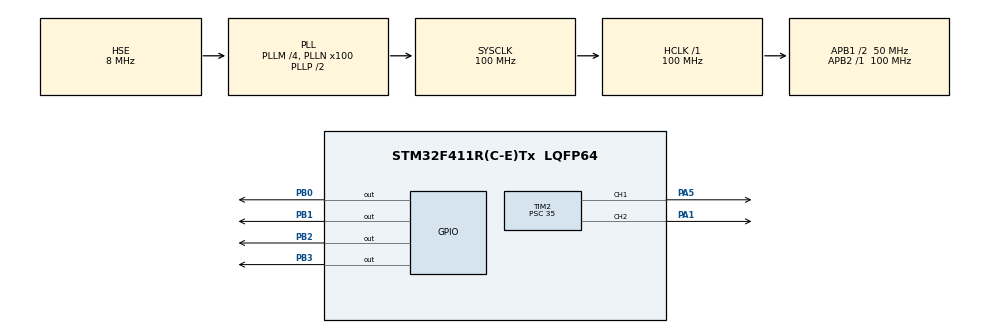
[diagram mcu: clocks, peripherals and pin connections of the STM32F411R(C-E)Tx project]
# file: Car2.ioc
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Mcu.Family=STM32F4
Mcu.Name=STM32F411R(C-E)Tx
Mcu.Package=LQFP64
NVIC.PriorityGroup=NVIC_PRIORITYGROUP_4
PA1.Signal=S_TIM2_CH2
PA13.Mode=Serial_Wire
PA13.Signal=SYS_JTMS-SWDIO
PA14.Mode=Serial_Wire
PA14.Signal=SYS_JTCK-SWCLK
PA5.Signal=S_TIM2_CH1_ETR
PB0.Signal=GPIO_Output
PB1.Signal=GPIO_Output
PB2.Signal=GPIO_Output
PB3.Signal=GPIO_Output
PH0\ -\ OSC_IN.Mode=HSE-External-Oscillator
PH0\ -\ OSC_IN.Signal=RCC_OSC_IN
PH1\ -\ OSC_OUT.Mode=HSE-External-Oscillator
PH1\ -\ OSC_OUT.Signal=RCC_OSC_OUT
ProjectManager.HeapSize=0x200
ProjectManager.StackSize=0x400
ProjectManager.TargetToolchain=STM32CubeIDE
RCC.48MHZClocksFreq_Value=50000000
RCC.AHBFreq_Value=100000000
RCC.APB1CLKDivider=RCC_HCLK_DIV2
RCC.APB1Freq_Value=50000000
RCC.APB1TimFreq_Value=100000000
RCC.APB2Freq_Value=100000000
RCC.APB2TimFreq_Value=100000000
RCC.CortexFreq_Value=100000000
RCC.HCLKFreq_Value=100000000
RCC.HSE_VALUE=8000000
RCC.HSI_VALUE=16000000
RCC.LSE_VALUE=32768
RCC.PLLM=4
RCC.PLLN=100
RCC.PLLSourceVirtual=RCC_PLLSOURCE_HSE
RCC.SYSCLKFreq_VALUE=100000000
RCC.SYSCLKSource=RCC_SYSCLKSOURCE_PLLCLK
RCC.VCOOutputFreq_Value=200000000
SH.S_TIM2_CH1_ETR.0=TIM2_CH1,PWM Generation1 CH1
SH.S_TIM2_CH2.0=TIM2_CH2,PWM Generation2 CH2
TIM2.Channel-PWM\ Generation1\ CH1=TIM_CHANNEL_1
TIM2.Channel-PWM\ Generation2\ CH2=TIM_CHANNEL_2
TIM2.Period=999
TIM2.Prescaler=35
VP_TIM2_VS_ClockSourceINT.Mode=Internal
board=custom

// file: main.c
/* USER CODE BEGIN Header */
/**
  ******************************************************************************
  * @file           : main.c
  * @brief          : Main program body
  ******************************************************************************
  * @attention
  *
  * Copyright (c) 2025 STMicroelectronics.
  * All rights reserved.
  *
  * This software is licensed under terms that can be found in the LICENSE file
  * in the root directory of this software component.
  * If no LICENSE file comes with this software, it is provided AS-IS.
  *
  ******************************************************************************
  */
/* USER CODE END Header */
#include "main.h"
#include "tim.h"
#include "gpio.h"

/* USER CODE BEGIN Includes */
#include "stm32f4xx_hal.h"

/* USER CODE END Includes */

void SystemClock_Config(void);
/* USER CODE BEGIN PFP */
//static void MX_GPIO_Init(void);
//static void MX_TIM2_PWM_Init(void); // PWM 타이머 초기화 함수

// 모터 제어 함수
void motor_left_set_speed(uint16_t speed);
void motor_right_set_speed(uint16_t speed);
void motor_left_forward(void);
void motor_left_reverse(void);
void motor_left_stop(void);
void motor_right_forward(void);
void motor_right_reverse(void);
void motor_right_stop(void);

/* USER CODE END PFP */

/* USER CODE BEGIN 0 */

/* 모터 제어 함수 구현부 ----------------------------------------------------*/

/**
  * @brief 왼쪽 모터 속도 설정 (0 ~ 999)
  * @param speed: 0 (정지) ~ 999 (최대 속도)
  * @retval None
  */
void motor_left_set_speed(uint16_t speed)
{
  if (speed > 999) speed = 999;
  __HAL_TIM_SET_COMPARE(&htim2, TIM_CHANNEL_1, speed); // CCR1 레지스터에 값 쓰기
}

/**
  * @brief 오른쪽 모터 속도 설정 (0 ~ 999)
  * @param speed: 0 (정지) ~ 999 (최대 속도)
  * @retval None
  */
void motor_right_set_speed(uint16_t speed)
{
  if (speed > 999) speed = 999;
  __HAL_TIM_SET_COMPARE(&htim2, TIM_CHANNEL_2, speed); // CCR2 레지스터에 값 쓰기
}

/**
  * @brief 왼쪽 모터 전진
  * @retval None
  */
void motor_left_forward(void)
{
  HAL_GPIO_WritePin(L_MOTOR_IN1_PORT, L_MOTOR_IN1_PIN, GPIO_PIN_SET);
  HAL_GPIO_WritePin(L_MOTOR_IN2_PORT, L_MOTOR_IN2_PIN, GPIO_PIN_RESET);
}

/**
  * @brief 왼쪽 모터 후진
  * @retval None
  */
void motor_left_reverse(void)
{
  HAL_GPIO_WritePin(L_MOTOR_IN1_PORT, L_MOTOR_IN1_PIN, GPIO_PIN_RESET);
  HAL_GPIO_WritePin(L_MOTOR_IN2_PORT, L_MOTOR_IN2_PIN, GPIO_PIN_SET);
}

/**
  * @brief 왼쪽 모터 정지 (브레이크)
  * @retval None
  */
void motor_left_stop(void)
{
  // L298N의 경우 IN1, IN2를 모두 LOW 또는 모두 HIGH로 하면 브레이크.
  // 또는 PWM을 0으로 해도 정지 효과. 여기서는 두 가지 모두 적용.
  HAL_GPIO_WritePin(L_MOTOR_IN1_PORT, L_MOTOR_IN1_PIN, GPIO_PIN_RESET); // 또는 GPIO_PIN_SET
  HAL_GPIO_WritePin(L_MOTOR_IN2_PORT, L_MOTOR_IN2_PIN, GPIO_PIN_RESET); // 또는 GPIO_PIN_SET
  motor_left_set_speed(0);
}

/**
  * @brief 오른쪽 모터 전진
  * @retval None
  */
void motor_right_forward(void)
{
  HAL_GPIO_WritePin(R_MOTOR_IN3_PORT, R_MOTOR_IN3_PIN, GPIO_PIN_SET);
  HAL_GPIO_WritePin(R_MOTOR_IN4_PORT, R_MOTOR_IN4_PIN, GPIO_PIN_RESET);
}

/**
  * @brief 오른쪽 모터 후진
  * @retval None
  */
void motor_right_reverse(void)
{
  HAL_GPIO_WritePin(R_MOTOR_IN3_PORT, R_MOTOR_IN3_PIN, GPIO_PIN_RESET);
  HAL_GPIO_WritePin(R_MOTOR_IN4_PORT, R_MOTOR_IN4_PIN, GPIO_PIN_SET);
}

/**
  * @brief 오른쪽 모터 정지 (브레이크)
  * @retval None
  */
void motor_right_stop(void)
{
  HAL_GPIO_WritePin(R_MOTOR_IN3_PORT, R_MOTOR_IN3_PIN, GPIO_PIN_RESET); // 또는 GPIO_PIN_SET
  HAL_GPIO_WritePin(R_MOTOR_IN4_PORT, R_MOTOR_IN4_PIN, GPIO_PIN_RESET); // 또는 GPIO_PIN_SET
  motor_right_set_speed(0);
}

#ifdef  USE_FULL_ASSERT
/**
  * @brief  Reports the name of the source file and the source line number
  * where the assert_param error has occurred.
  * @param  file: pointer to the source file name
  * @param  line: assert_param error line source number
  * @retval None
  */
void assert_failed(uint8_t *file, uint32_t line)
{
  /* User can add his own implementation to report the file name and line number,
     ex: printf("Wrong parameters value: file %s on line %d\r\n", file, line) */
}
#endif /* USE_FULL_ASSERT */

/* USER CODE END 0 */

int main(void)
{

  /* MCU Configuration--------------------------------------------------------*/

  /* Reset of all peripherals, Initializes the Flash interface and the Systick. */
  HAL_Init();

  /* Configure the system clock */
  SystemClock_Config();

  /* Initialize all configured peripherals */
  MX_GPIO_Init();
  MX_TIM2_Init();
  /* USER CODE BEGIN 2 */
  HAL_TIM_PWM_Start(&htim2, TIM_CHANNEL_1); // 왼쪽 모터 PWM (ENA)
  HAL_TIM_PWM_Start(&htim2, TIM_CHANNEL_2); // 오른쪽 모터 PWM (ENB)

  /* USER CODE END 2 */

  /* Infinite loop */
  /* USER CODE BEGIN WHILE */
  while (1)
  {
	  // 1. 전진 (속도 500 / 999)
	      motor_left_forward();
	      motor_right_forward();
	      motor_left_set_speed(500);  // 0 ~ 999 범위의 속도 값
	      motor_right_set_speed(500);
	      HAL_Delay(2000); // 2초간 전진

	      // 2. 정지
	      motor_left_stop();
	      motor_right_stop();
	      HAL_Delay(1000); // 1초간 정지

	      // 3. 후진 (속도 300 / 999)
	      motor_left_reverse();
	      motor_right_reverse();
	      motor_left_set_speed(300);
	      motor_right_set_speed(300);
	      HAL_Delay(2000); // 2초간 후진

	      // 4. 정지
	      motor_left_stop();
	      motor_right_stop();
	      HAL_Delay(1000); // 1초간 정지

	      // 5. 좌회전 (왼쪽은 후진, 오른쪽은 전진, 속도 400)
	      motor_left_reverse();
	      motor_right_forward();
	      motor_left_set_speed(400);
	      motor_right_set_speed(400);
	      HAL_Delay(1500);

	      // 6. 정지
	      motor_left_stop();
	      motor_right_stop();
	      HAL_Delay(1000);
    /* USER CODE END WHILE */

  }
}

void SystemClock_Config(void)
{
  RCC_OscInitTypeDef RCC_OscInitStruct = {0};
  RCC_ClkInitTypeDef RCC_ClkInitStruct = {0};

  /** Configure the main internal regulator output voltage
  */
  __HAL_RCC_PWR_CLK_ENABLE();
  __HAL_PWR_VOLTAGESCALING_CONFIG(PWR_REGULATOR_VOLTAGE_SCALE1);

  /** Initializes the RCC Oscillators according to the specified parameters
  * in the RCC_OscInitTypeDef structure.
  */
  RCC_OscInitStruct.OscillatorType = RCC_OSCILLATORTYPE_HSE;
  RCC_OscInitStruct.HSEState = RCC_HSE_ON;
  RCC_OscInitStruct.PLL.PLLState = RCC_PLL_ON;
  RCC_OscInitStruct.PLL.PLLSource = RCC_PLLSOURCE_HSE;
  RCC_OscInitStruct.PLL.PLLM = 4;
  RCC_OscInitStruct.PLL.PLLN = 100;
  RCC_OscInitStruct.PLL.PLLP = RCC_PLLP_DIV2;
  RCC_OscInitStruct.PLL.PLLQ = 4;
  if (HAL_RCC_OscConfig(&RCC_OscInitStruct) != HAL_OK)
  {
    Error_Handler();
  }

  /** Initializes the CPU, AHB and APB buses clocks
  */
  RCC_ClkInitStruct.ClockType = RCC_CLOCKTYPE_HCLK|RCC_CLOCKTYPE_SYSCLK
                              |RCC_CLOCKTYPE_PCLK1|RCC_CLOCKTYPE_PCLK2;
  RCC_ClkInitStruct.SYSCLKSource = RCC_SYSCLKSOURCE_PLLCLK;
  RCC_ClkInitStruct.AHBCLKDivider = RCC_SYSCLK_DIV1;
  RCC_ClkInitStruct.APB1CLKDivider = RCC_HCLK_DIV2;
  RCC_ClkInitStruct.APB2CLKDivider = RCC_HCLK_DIV1;

  if (HAL_RCC_ClockConfig(&RCC_ClkInitStruct, FLASH_LATENCY_3) != HAL_OK)
  {
    Error_Handler();
  }
}

void Error_Handler(void)
{
  __disable_irq();
  while (1)
  {
  }
}
